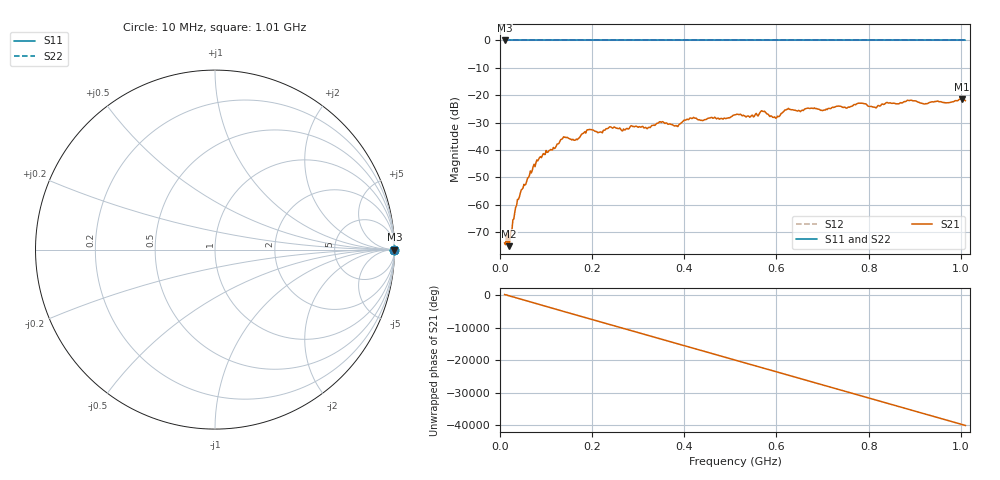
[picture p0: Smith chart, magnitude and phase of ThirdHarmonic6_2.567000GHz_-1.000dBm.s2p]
! 8/17/2025 5:21:03 AM
! C:\ANRITSUVNA\TEMP\TEMP.S2P
! CHANNEL.1
! TR.MEASUREMENT
! RAW.DATA
! RF.CORRECTION.OFF
! AVERAGING.OFF
! IF.BANDWIDTH: 5KHZ
! SWEEPTYPE:  FREQ.SWEEP(Linear)
! Reference Plane Port Info
! PORT:  PORT1  PORT2
! DISTANCE:  0  m  0  m
! TIME:  0  s  0  s
! PHASE.OFFSET:  0  deg.  0  deg.
! LOSS:  0  dB  0  dB
! REF.LOSS:  0  dB  0  dB
! REF.FREQ:  0  Hz  0  Hz
! Power Info
! POWER:  -20  dBm  -20  dBm
! EFF.POWER:  -20  dBm  -20  dBm
! SOURCE.ATTEN:  0  dB  0  dB
! TEST.ATTEN:  0  dB  0  dB
# GHZ S RI R 50.0
! FREQ.GHZ  S11RE  S11IM  S21RE  S21IM  S12RE  S12IM  S22RE  S22IM
!; PortSelection: Port_12
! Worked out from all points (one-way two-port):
!   501 points, 10 MHz to 1.01 GHz, reference 50 ohm
!   highest |S21| = -21.41 dB at 1.002 GHz (marker M1); lowest = -75.1 dB at 20 MHz (marker M2)
!   lowest |S11| = 0.0 dB at 10 MHz (marker M3)
!   |S11| at or under -10 dB: nowhere
!   |S22| runs from 0.0 to 0.0 dB; largest |S21 - S12| = 1.1
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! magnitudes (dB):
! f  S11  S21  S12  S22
! 10 MHz  0.0  -73.9  0.0  0.0
! 20 MHz  0.0  -75.1  0.0  0.0
! 42 MHz  0.0  -57.2  0.0  0.0
! 82 MHz  0.0  -43.9  0.0  0.0
! 136 MHz  0.0  -35.8  0.0  0.0
! 164 MHz  0.0  -36.3  0.0  0.0
! 178 MHz  0.0  -34.1  0.0  0.0
! 238 MHz  0.0  -31.5  0.0  0.0
! 322 MHz  0.0  -31.8  0.0  0.0
! 344 MHz  0.0  -30.1  0.0  0.0
! 382 MHz  0.0  -31.1  0.0  0.0
! 416 MHz  0.0  -28.5  0.0  0.0
! 510 MHz  0.0  -27.1  0.0  0.0
! 546 MHz  0.0  -27.4  0.0  0.0
! 570 MHz  0.0  -25.9  0.0  0.0
! 596 MHz  0.0  -27.9  0.0  0.0
! 622 MHz  0.0  -25.2  0.0  0.0
! 678 MHz  0.0  -24.8  0.0  0.0
! 814 MHz  0.0  -24.4  0.0  0.0
! 844 MHz  0.0  -22.9  0.0  0.0
! 1.002 GHz  0.0  -21.4  0.0  0.0
! 1.01 GHz  0.0  -22.0  0.0  0.0
